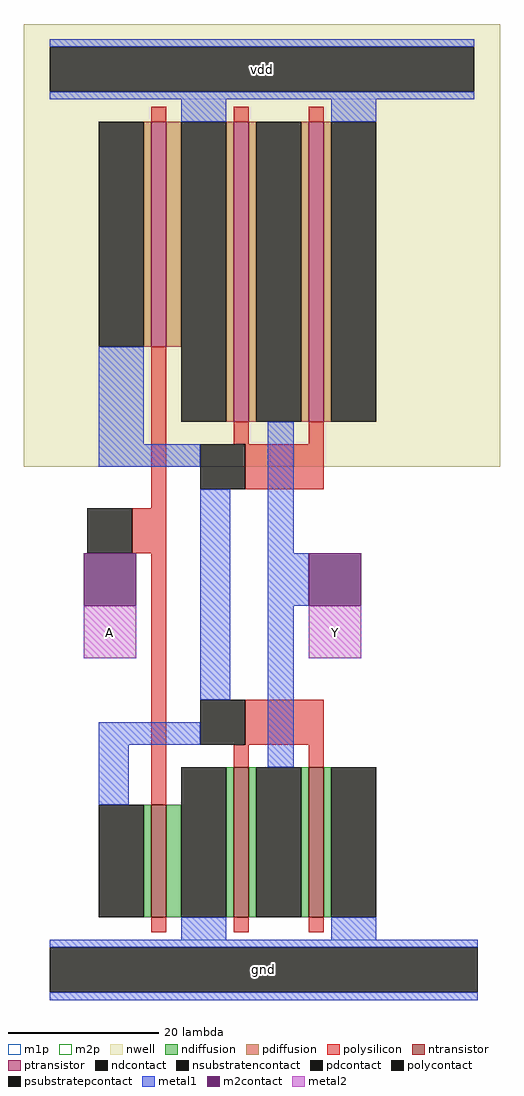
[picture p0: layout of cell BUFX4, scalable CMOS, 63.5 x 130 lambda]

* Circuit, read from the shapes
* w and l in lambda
.subckt BUFX4 A Y vdd gnd
M1 gnd A n1 gnd nfet w=15 l=2
M2 Y n1 gnd gnd nfet w=20 l=2 m=2
M3 vdd A n1 vdd pfet w=30 l=2
M4 Y n1 vdd vdd pfet w=40 l=2 m=2
.ends

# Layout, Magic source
magic
tech scmos
magscale 1 2
<< nwell >>
rect -13 134 114 252
<< ntransistor >>
rect 21 14 25 44
rect 43 14 47 54
rect 63 14 67 54
<< ptransistor >>
rect 21 166 25 226
rect 43 146 47 226
rect 63 146 67 226
<< ndiffusion >>
rect 19 14 21 44
rect 25 14 29 44
rect 41 14 43 54
rect 47 14 49 54
rect 61 14 63 54
rect 67 14 69 54
<< pdiffusion >>
rect 19 166 21 226
rect 25 166 29 226
rect 41 146 43 226
rect 47 146 49 226
rect 61 146 63 226
rect 67 146 69 226
<< ndcontact >>
rect 7 14 19 44
rect 29 14 41 54
rect 49 14 61 54
rect 69 14 81 54
<< pdcontact >>
rect 7 166 19 226
rect 29 146 41 226
rect 49 146 61 226
rect 69 146 81 226
<< psubstratepcontact >>
rect -6 -6 108 6
<< nsubstratencontact >>
rect -6 234 107 246
<< polysilicon >>
rect 21 226 25 230
rect 43 226 47 230
rect 63 226 67 230
rect 21 123 25 166
rect 43 140 47 146
rect 63 140 67 146
rect 46 128 67 140
rect 16 111 25 123
rect 21 44 25 111
rect 46 60 67 72
rect 43 54 47 60
rect 63 54 67 60
rect 21 10 25 14
rect 43 10 47 14
rect 63 10 67 14
<< polycontact >>
rect 34 128 46 140
rect 4 111 16 123
rect 34 60 46 72
<< metal1 >>
rect -6 246 107 248
rect -6 232 107 234
rect 29 226 41 232
rect 69 226 81 232
rect 7 140 19 166
rect 7 134 34 140
rect 34 72 42 128
rect 52 111 59 146
rect 52 97 63 111
rect 7 60 34 66
rect 7 44 15 60
rect 52 54 59 97
rect 29 8 41 14
rect 69 8 81 14
rect -6 6 108 8
rect -6 -8 108 -6
<< m2contact >>
rect 3 97 17 111
rect 63 97 77 111
<< metal2 >>
rect 3 83 17 97
rect 63 83 77 97
<< m1p >>
rect -6 232 107 248
rect -6 -8 108 8
<< m2p >>
rect 3 83 17 97
rect 63 83 77 97
<< labels >>
rlabel metal1 -6 -8 108 8 0 gnd
port 3 nsew ground bidirectional abutment
rlabel metal1 -6 232 107 248 0 vdd
port 2 nsew power bidirectional abutment
rlabel metal2 3 83 17 97 0 A
port 0 nsew signal input
rlabel metal2 63 83 77 97 0 Y
port 1 nsew signal output
<< properties >>
string FIXED_BBOX 0 0 100 240
string LEFclass CORE
string LEFsite core
string LEFsymmetry X Y
<< end >>
